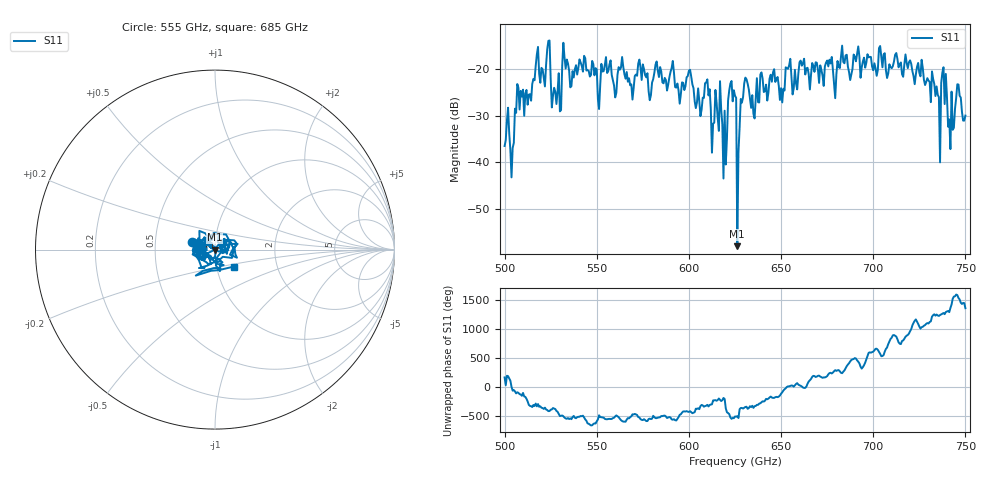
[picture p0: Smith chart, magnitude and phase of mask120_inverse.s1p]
!Created with skrf (http://scikit-rf.org).
# GHz S MA R 50.0
!freq magS11 angS11
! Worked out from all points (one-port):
!   401 points, 500 GHz to 750 GHz, reference 50 ohm
!   lowest |S11| = -58.1 dB at 626.2 GHz (marker M1), VSWR 1.00, Z = 49.9 - j0.0683 ohm
!   |S11| at or under -10 dB: start of sweep to end of sweep
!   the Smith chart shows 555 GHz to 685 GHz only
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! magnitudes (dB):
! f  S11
! 500 GHz  -36.5
! 503.8 GHz  -43.3
! 506.9 GHz  -23.2
! 513.8 GHz  -25.3
! 516.9 GHz  -19.2
! 523.8 GHz  -13.9
! 526.9 GHz  -24.0
! 531.2 GHz  -19.2
! 533.1 GHz  -19.8
! 562.5 GHz  -20.1
! 593.8 GHz  -23.0
! 610 GHz  -22.1
! 619.4 GHz  -28.9
! 623.1 GHz  -22.5
! 624.4 GHz  -24.5
! 625 GHz  -25.7
! 626.2 GHz  -58.1
! 631.2 GHz  -22.1
! 634.4 GHz  -25.6
! 656.2 GHz  -25.4
! 687.5 GHz  -22.3
! 718.8 GHz  -19.7
! 733.1 GHz  -23.2
! 735 GHz  -25.5
! 738.1 GHz  -19.5
! 741.9 GHz  -37.2
! 746.2 GHz  -23.3
! 750 GHz  -30.0
